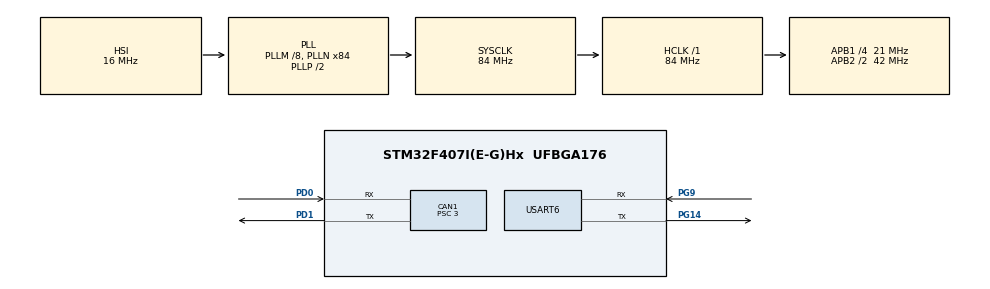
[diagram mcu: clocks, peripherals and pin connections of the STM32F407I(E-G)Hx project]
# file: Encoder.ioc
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CAN1.BS1=CAN_BS1_10TQ
CAN1.BS2=CAN_BS2_3TQ
CAN1.CalculateBaudRate=500000
CAN1.CalculateTimeBit=2000
CAN1.CalculateTimeQuantum=142.85714285714286
CAN1.Prescaler=3
FREERTOS.Tasks01=defaultTask,0,128,StartDefaultTask,Default,NULL,Dynamic,NULL,NULL;Encoder_Task,-3,128,encoder_task,As weak,NULL,Dynamic,NULL,NULL;Referee_Task,-3,128,referee_task,As weak,NULL,Dynamic,NULL,NULL
Mcu.Family=STM32F4
Mcu.Name=STM32F407I(E-G)Hx
Mcu.Package=UFBGA176
NVIC.CAN1_RX0_IRQn=true\:5\:0\:false\:false\:true\:true\:true\:true\:true
NVIC.CAN1_TX_IRQn=true\:5\:0\:false\:false\:true\:true\:true\:true\:true
NVIC.PriorityGroup=NVIC_PRIORITYGROUP_4
NVIC.TIM8_TRG_COM_TIM14_IRQn=true\:15\:0\:false\:false\:true\:false\:false\:true\:true
NVIC.TimeBase=TIM8_TRG_COM_TIM14_IRQn
NVIC.TimeBaseIP=TIM14
NVIC.USART6_IRQn=true\:5\:0\:false\:false\:true\:true\:true\:true\:true
PA13.Mode=Serial_Wire
PA13.Signal=SYS_JTMS-SWDIO
PA14.Mode=Serial_Wire
PA14.Signal=SYS_JTCK-SWCLK
PA9.Signal=USART1_TX
PD0.Mode=CAN_Activate
PD0.Signal=CAN1_RX
PD1.Mode=CAN_Activate
PD1.Signal=CAN1_TX
PG14.Mode=Asynchronous
PG14.Signal=USART6_TX
PG9.Mode=Asynchronous
PG9.Signal=USART6_RX
PH0-OSC_IN.Mode=HSE-External-Oscillator
PH0-OSC_IN.Signal=RCC_OSC_IN
PH1-OSC_OUT.Mode=HSE-External-Oscillator
PH1-OSC_OUT.Signal=RCC_OSC_OUT
ProjectManager.HeapSize=0x200
ProjectManager.StackSize=0x400
ProjectManager.TargetToolchain=STM32CubeIDE
RCC.48MHZClocksFreq_Value=42000000
RCC.AHBFreq_Value=84000000
RCC.APB1CLKDivider=RCC_HCLK_DIV4
RCC.APB1Freq_Value=21000000
RCC.APB1TimFreq_Value=42000000
RCC.APB2CLKDivider=RCC_HCLK_DIV2
RCC.APB2Freq_Value=42000000
RCC.APB2TimFreq_Value=84000000
RCC.CortexFreq_Value=84000000
RCC.HCLKFreq_Value=84000000
RCC.HSE_VALUE=12000000
RCC.HSI_VALUE=16000000
RCC.LSE_VALUE=32768
RCC.PLLM=8
RCC.PLLN=84
RCC.SYSCLKFreq_VALUE=84000000
RCC.SYSCLKSource=RCC_SYSCLKSOURCE_PLLCLK
RCC.VCOOutputFreq_Value=168000000
USART6.VirtualMode=VM_ASYNC
VP_FREERTOS_VS_CMSIS_V1.Mode=CMSIS_V1
VP_SYS_VS_tim14.Mode=TIM14
board=custom

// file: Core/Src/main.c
/* USER CODE BEGIN Header */
/**
  ******************************************************************************
  * @file           : main.c
  * @brief          : Main program body
  ******************************************************************************
  * @attention
  *
  * Copyright (c) 2025 STMicroelectronics.
  * All rights reserved.
  *
  * This software is licensed under terms that can be found in the LICENSE file
  * in the root directory of this software component.
  * If no LICENSE file comes with this software, it is provided AS-IS.
  *
  ******************************************************************************
  */
/* USER CODE END Header */
#include "main.h"
#include "cmsis_os.h"
#include "can.h"
#include "usart.h"
#include "gpio.h"

/* USER CODE BEGIN Includes */
#include "bsp_can.h"
// #include "RTT_Logger.h"
#include "encoder.h"
#include "FreeRTOS.h"
/* USER CODE END Includes */

/* USER CODE BEGIN PTD */

CanInstance_s* can1;
CanInitConfig_s can1_config = {
  .topic_name = "can1",
  .can_number = 1,
  .tx_id = 0x01,
  .rx_id = 0x01,
};

EncoderInstance_s* encoder;
EncoderInitConfig_s encoder_config = {
.topic_name = "encoder1",
.encoder_address = 0x01,
.can_config = &can1_config,
.is_auto_refresh = false,
.refresh_time = 100,};

/* USER CODE END PTD */

void SystemClock_Config(void);
void MX_FREERTOS_Init(void);

/* USER CODE BEGIN 0 */

void encoder_task(void const * argument){
  while (1)
  {
    if (encoder!=NULL)
    {
      Encoder_Angle_Refresh(encoder);
    }
  }
}
/* USER CODE END 0 */

int main(void)
{

  /* MCU Configuration--------------------------------------------------------*/

  /* Reset of all peripherals, Initializes the Flash interface and the Systick. */
  HAL_Init();

  /* Configure the system clock */
  SystemClock_Config();

  /* Initialize all configured peripherals */
  MX_GPIO_Init();
  MX_CAN1_Init();
  MX_USART6_UART_Init();
  /* USER CODE BEGIN 2 */
  encoder = Encoder_Register(&encoder_config);
  if (encoder == NULL) {
    Log_Error("Encoder Register Failed");
  }

  /* USER CODE END 2 */

  /* Call init function for freertos objects (in cmsis_os2.c) */
  MX_FREERTOS_Init();

  /* Start scheduler */
  osKernelStart();

  /* We should never get here as control is now taken by the scheduler */

  /* Infinite loop */
  while (1)
  {

  }
}

void SystemClock_Config(void)
{
  RCC_OscInitTypeDef RCC_OscInitStruct = {0};
  RCC_ClkInitTypeDef RCC_ClkInitStruct = {0};

  /** Configure the main internal regulator output voltage
  */
  __HAL_RCC_PWR_CLK_ENABLE();
  __HAL_PWR_VOLTAGESCALING_CONFIG(PWR_REGULATOR_VOLTAGE_SCALE1);

  /** Initializes the RCC Oscillators according to the specified parameters
  * in the RCC_OscInitTypeDef structure.
  */
  RCC_OscInitStruct.OscillatorType = RCC_OSCILLATORTYPE_HSI;
  RCC_OscInitStruct.HSIState = RCC_HSI_ON;
  RCC_OscInitStruct.HSICalibrationValue = RCC_HSICALIBRATION_DEFAULT;
  RCC_OscInitStruct.PLL.PLLState = RCC_PLL_ON;
  RCC_OscInitStruct.PLL.PLLSource = RCC_PLLSOURCE_HSI;
  RCC_OscInitStruct.PLL.PLLM = 8;
  RCC_OscInitStruct.PLL.PLLN = 84;
  RCC_OscInitStruct.PLL.PLLP = RCC_PLLP_DIV2;
  RCC_OscInitStruct.PLL.PLLQ = 4;
  if (HAL_RCC_OscConfig(&RCC_OscInitStruct) != HAL_OK)
  {
    Error_Handler();
  }

  /** Initializes the CPU, AHB and APB buses clocks
  */
  RCC_ClkInitStruct.ClockType = RCC_CLOCKTYPE_HCLK|RCC_CLOCKTYPE_SYSCLK
                              |RCC_CLOCKTYPE_PCLK1|RCC_CLOCKTYPE_PCLK2;
  RCC_ClkInitStruct.SYSCLKSource = RCC_SYSCLKSOURCE_PLLCLK;
  RCC_ClkInitStruct.AHBCLKDivider = RCC_SYSCLK_DIV1;
  RCC_ClkInitStruct.APB1CLKDivider = RCC_HCLK_DIV4;
  RCC_ClkInitStruct.APB2CLKDivider = RCC_HCLK_DIV2;

  if (HAL_RCC_ClockConfig(&RCC_ClkInitStruct, FLASH_LATENCY_2) != HAL_OK)
  {
    Error_Handler();
  }
}

void HAL_TIM_PeriodElapsedCallback(TIM_HandleTypeDef *htim)
{
  if (htim->Instance == TIM14)
  {
    HAL_IncTick();
  }
}

void Error_Handler(void)
{
  __disable_irq();
  while (1)
  {
  }
}

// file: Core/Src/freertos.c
/* USER CODE BEGIN Header */
/**
  ******************************************************************************
  * File Name          : freertos.c
  * Description        : Code for freertos applications
  ******************************************************************************
  * @attention
  *
  * Copyright (c) 2025 STMicroelectronics.
  * All rights reserved.
  *
  * This software is licensed under terms that can be found in the LICENSE file
  * in the root directory of this software component.
  * If no LICENSE file comes with this software, it is provided AS-IS.
  *
  ******************************************************************************
  */
/* USER CODE END Header */

#include "FreeRTOS.h"
#include "task.h"
#include "main.h"
#include "cmsis_os.h"

osThreadId defaultTaskHandle;
osThreadId Encoder_TaskHandle;
osThreadId Referee_TaskHandle;

void StartDefaultTask(void const * argument);
void encoder_task(void const * argument);
void referee_task(void const * argument);

void MX_FREERTOS_Init(void); /* (MISRA C 2004 rule 8.1) */

/* GetIdleTaskMemory prototype (linked to static allocation support) */
void vApplicationGetIdleTaskMemory( StaticTask_t **ppxIdleTaskTCBBuffer, StackType_t **ppxIdleTaskStackBuffer, uint32_t *pulIdleTaskStackSize );

/* USER CODE BEGIN GET_IDLE_TASK_MEMORY */
static StaticTask_t xIdleTaskTCBBuffer;
static StackType_t xIdleStack[configMINIMAL_STACK_SIZE];

void vApplicationGetIdleTaskMemory( StaticTask_t **ppxIdleTaskTCBBuffer, StackType_t **ppxIdleTaskStackBuffer, uint32_t *pulIdleTaskStackSize )
{
  *ppxIdleTaskTCBBuffer = &xIdleTaskTCBBuffer;
  *ppxIdleTaskStackBuffer = &xIdleStack[0];
  *pulIdleTaskStackSize = configMINIMAL_STACK_SIZE;
  /* place for user code */
}
/* USER CODE END GET_IDLE_TASK_MEMORY */

void MX_FREERTOS_Init(void) {

  /* Create the thread(s) */
  /* definition and creation of defaultTask */
  osThreadDef(defaultTask, StartDefaultTask, osPriorityNormal, 0, 128);
  defaultTaskHandle = osThreadCreate(osThread(defaultTask), NULL);

  /* definition and creation of Encoder_Task */
  osThreadDef(Encoder_Task, encoder_task, osPriorityIdle, 0, 128);
  Encoder_TaskHandle = osThreadCreate(osThread(Encoder_Task), NULL);

  /* definition and creation of Referee_Task */
  osThreadDef(Referee_Task, referee_task, osPriorityIdle, 0, 128);
  Referee_TaskHandle = osThreadCreate(osThread(Referee_Task), NULL);

}

void StartDefaultTask(void const * argument)
{
  for(;;)
  {
    osDelay(1);
  }
}

__weak void encoder_task(void const * argument)
{
  for(;;)
  {
    osDelay(1);
  }
}

__weak void referee_task(void const * argument)
{
  for(;;)
  {
    osDelay(1);
  }
}
